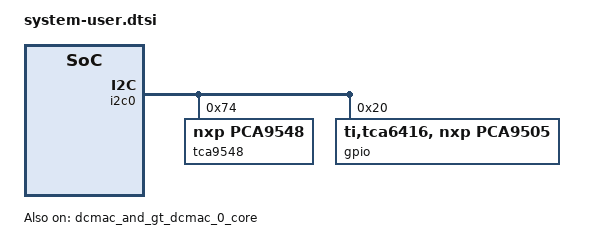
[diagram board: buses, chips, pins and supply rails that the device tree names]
/include/ "system-conf.dtsi"
/ {
};

&dcmac_and_gt_dcmac_0_core {
    xlnx,gt-ch0-rx-user-data-width-c0 = <0x50>;
    xlnx,gt-mode-0 = "NRZ";
    xlnx,gt-ch0-rx-user-data-width-c1 = <0x50>;
    xlnx,gt-mode-1 = "PAM4";
    xlnx,mac-port5-enable-c0 = <0x00>;
    xlnx,gt-mode-2 = "PAM4";
    xlnx,mac-port5-enable-c1 = <0x01>;
    xlnx,gt-mode-3 = "PAM4";
    xlnx,mac-port0-rx-etype-gcp-c0 = <0x8808>;
    xlnx,mac-port5-tx-sa-gpp-c0 = <0x00>;
    xlnx,gt-mode-4 = "PAM4";
    xlnx,mac-port0-rx-etype-gcp-c1 = <0x8808>;
    xlnx,mac-port5-tx-sa-gpp-c1 = <0x00>;
    xlnx,mac-port2-rx-etype-gcp-c0 = <0x8808>;
    xlnx,gt-ch0-tx-int-data-width-c0 = <0x50>;
    xlnx,mac-port1-rx-flow-c0 = <0x00>;
    xlnx,mac-port2-rx-etype-gcp-c1 = <0x8808>;
    xlnx,gt-ch0-tx-int-data-width-c1 = <0x50>;
    xlnx,mac-port4-rx-etype-gcp-c0 = <0x8808>;
    xlnx,mac-port3-tx-insert-c0 = <0x00>;
    xlnx,mac-port1-rx-flow-c1 = <0x00>;
    xlnx,mac-port4-rx-etype-gcp-c1 = <0x8808>;
    xlnx,mac-port3-tx-insert-c1 = <0x01>;
    xlnx,mac-port2-tx-ethertype-ppp-c0 = <0x8808>;
    xlnx,gt-ch1-txprogdiv-freq-val-c0 = <0x266ac338>;
    xlnx,mac-port2-tx-ethertype-ppp-c1 = <0x8808>;
    xlnx,gt-ch1-txprogdiv-freq-val-c1 = <0x266ac338>;
    xlnx,gt-ch2-rx-data-decoding-c0 = "RAW";
    xlnx,port5-1588v2-operation-mode-c0 = "No , operation";
    xlnx,gt-ch2-rx-data-decoding-c1 = "RAW";
    xlnx,diffclk-board-interface = "Custom";
    xlnx,port5-1588v2-operation-mode-c1 = "No , operation";
    xlnx,oth-pcs-port0-config3-c0 = "N/A";
    xlnx,mac-port4-tx-sa-ppp-c0 = <0x00>;
    xlnx,oth-pcs-port0-config3-c1 = "100CAUI-4";
    xlnx,mac-port4-tx-sa-ppp-c1 = <0x00>;
    xlnx,mac-port4-rx-pause-da-ucast-c0 = <0x00>;
    xlnx,mac-port4-rx-pause-da-ucast-c1 = <0x00>;
    xlnx,mac-port0-rx-opcode-min-pcp-c0 = <0x00>;
    xlnx,mac-port0-rx-opcode-min-pcp-c1 = <0x00>;
    xlnx,overclocking = <0x00>;
    xlnx,mac-port3-preemption-c0 = <0x00>;
    xlnx,mac-port2-rx-opcode-max-pcp-c0 = <0xffff>;
    xlnx,mac-port3-preemption-c1 = <0x00>;
    xlnx,mac-port2-rx-opcode-max-pcp-c1 = <0xffff>;
    xlnx,gt-ch0-tx-pll-type-c0 = "LCPLL";
    xlnx,mac-port0-tx-opcode-ppp-c0 = <0x101>;
    xlnx,gt-ch0-tx-pll-type-c1 = "LCPLL";
    xlnx,oth-pcs-port2-config4-c0 = "N/A";
    xlnx,mac-port0-tx-opcode-ppp-c1 = <0x101>;
    xlnx,mac-port2-tx-ethertype-gpp-c0 = <0x8808>;
    xlnx,oth-pcs-port2-config4-c1 = "100CAUI-4";
    xlnx,mac-port4-config-c0 = "N/A";
    xlnx,mac-port2-tx-ethertype-gpp-c1 = <0x8808>;
    xlnx,num-gt-channels-port0 = <0x04>;
    xlnx,mac-port4-config-c1 = "N/A";
    xlnx,num-gt-channels-port1 = <0x00>;
    xlnx,num-gt-channels-port2 = <0x00>;
    xlnx,mac-port4-tx-sa-gpp-c0 = <0x00>;
    xlnx,num-gt-channels-port3 = <0x00>;
    xlnx,mac-port4-tx-sa-gpp-c1 = <0x00>;
    xlnx,num-gt-channels-port4 = <0x00>;
    xlnx,mac-port3-rx-pause-da-mcast-c0 = <0x180 0xc2000001>;
    xlnx,num-gt-channels-port5 = <0x00>;
    xlnx,port0-1588v2-operation-mode-c0 = "2-step";
    xlnx,mac-port3-rx-pause-da-mcast-c1 = <0x180 0xc2000001>;
    xlnx,mac-port2-tx-insert-c0 = <0x00>;
    xlnx,gt-ch2-rx-outclk-source-c0 = "RXPROGDIVCLK";
    xlnx,port2-1588v2-clocking-c0 = "Ordinary/Boundary , Clock";
    xlnx,port0-1588v2-operation-mode-c1 = "No , operation";
    xlnx,mac-port2-tx-insert-c1 = <0x01>;
    xlnx,mac-port0-rx-opcode-min-gcp-c0 = <0x00>;
    xlnx,mac-port2-rx-flow-c0 = <0x00>;
    xlnx,gt-ch2-txprogdiv-freq-source-c0 = "LCPLL";
    xlnx,gt-ch2-rx-outclk-source-c1 = "RXPROGDIVCLK";
    xlnx,port2-1588v2-clocking-c1 = "Ordinary/Boundary , Clock";
    xlnx,mac-port0-rx-opcode-min-gcp-c1 = <0x00>;
    xlnx,mac-port2-rx-flow-c1 = <0x00>;
    xlnx,gt-ch2-txprogdiv-freq-source-c1 = "LCPLL";
    xlnx,mac-port0-rx-etype-ppp-c0 = <0x8808>;
    xlnx,mac-port0-rx-etype-ppp-c1 = <0x8808>;
    xlnx,gt-drp-clk-c0 = <0x64>;
    xlnx,mac-port3-tx-sa-ppp-c0 = <0x00>;
    xlnx,gt-mode-dyn = "MIX";
    xlnx,mac-port2-rx-etype-ppp-c0 = <0x8808>;
    xlnx,mac-port2-rx-opcode-max-gcp-c0 = <0xffff>;
    xlnx,gt-drp-clk-c1 = <0x64>;
    xlnx,gt-ch2-tx-user-data-width-c0 = <0x50>;
    xlnx,mac-port3-tx-sa-ppp-c1 = <0x00>;
    xlnx,mac-port2-rx-etype-ppp-c1 = <0x8808>;
    xlnx,mac-port2-rx-opcode-max-gcp-c1 = <0xffff>;
    xlnx,gt-ch2-tx-user-data-width-c1 = <0x50>;
    xlnx,oth-pcs-port1-config3-c0 = "N/A";
    xlnx,mac-port4-rx-etype-ppp-c0 = <0x8808>;
    xlnx,mac-port0-tx-opcode-gpp-c0 = <0x01>;
    xlnx,oth-pcs-port1-config3-c1 = "100CAUI-4";
    xlnx,mac-port5-tx-da-ppp-c0 = <0x180 0xc2000001>;
    xlnx,mac-port4-rx-etype-ppp-c1 = <0x8808>;
    xlnx,mac-port0-tx-opcode-gpp-c1 = <0x01>;
    xlnx,gt-ch3-txprogdiv-freq-enable-c0;
    xlnx,mac-port5-tx-da-ppp-c1 = <0x180 0xc2000001>;
    xlnx,gt-ch3-txprogdiv-freq-enable-c1;
    xlnx,mac-port2-tx-opcode-ppp-c0 = <0x101>;
    xlnx,mac-port5-rx-pause-sa-c0 = <0x00>;
    xlnx,mac-port3-tx-ethertype-ppp-c0 = <0x8808>;
    xlnx,mac-port2-tx-opcode-ppp-c1 = <0x101>;
    xlnx,mac-port5-rx-pause-sa-c1 = <0x00>;
    xlnx,gt-ch1-rx-buffer-mode-c0 = <0x01>;
    xlnx,port5-1588v2-clocking-c0 = "Ordinary/Boundary , Clock";
    xlnx,mac-port3-tx-ethertype-ppp-c1 = <0x8808>;
    xlnx,gt-ch1-rx-buffer-mode-c1 = <0x01>;
    xlnx,port5-1588v2-clocking-c1 = "Ordinary/Boundary , Clock";
    xlnx,gt-ch3-rx-data-decoding-c0 = "RAW";
    xlnx,gt-ch1-tx-buffer-mode-c0 = <0x01>;
    clock-names = "rx_axi_clk\0rx_core_clk\0rx_flexif_clk\0rx_macif_clk\0s_axi_aclk\0ts_clk\0tx_axi_clk\0tx_core_clk\0tx_flexif_clk\0tx_macif_clk";
    xlnx,gt-ch3-rx-data-decoding-c1 = "RAW";
    xlnx,gt-ch1-tx-buffer-mode-c1 = <0x01>;
    xlnx,mac-port0-enable-c0 = <0x01>;
    xlnx,mac-port1-rx-opcode-ppp-c0 = <0x101>;
    xlnx,gt-ch2-rxprogdiv-freq-source-c0 = "LCPLL";
    xlnx,mac-port0-enable-c1 = <0x01>;
    xlnx,mac-port1-rx-opcode-ppp-c1 = <0x101>;
    xlnx,gtm-group-select2-c0 = "GTM_DUAL_X0Y0";
    xlnx,gt-ch2-rxprogdiv-freq-source-c1 = "LCPLL";
    xlnx,gt-ch1-tx-int-data-width-c0 = <0x50>;
    xlnx,gtm-group-select2-c1 = "GTM_DUAL_X0Y0";
    xlnx,gt-ch1-tx-int-data-width-c1 = <0x50>;
    xlnx,ethernet-board-interface = "Custom";
    xlnx,oth-pcs-port3-config4-c0 = "N/A";
    xlnx,mac-port0-rx-etype-gpp-c0 = <0x8808>;
    xlnx,oth-pcs-port3-config4-c1 = "100CAUI-4";
    xlnx,mac-port0-rx-etype-gpp-c1 = <0x8808>;
    xlnx,mac-port3-tx-sa-gpp-c0 = <0x00>;
    xlnx,mac-port2-rx-etype-gpp-c0 = <0x8808>;
    xlnx,data-rate-cfg-0 = "100G";
    xlnx,oth-pcs-port0-config2-c0 = "N/A";
    xlnx,mac-port3-tx-sa-gpp-c1 = <0x00>;
    xlnx,mac-port2-enable-time-stamping-c0 = <0x00>;
    xlnx,mac-port2-rx-etype-gpp-c1 = <0x8808>;
    xlnx,num-gt-channels-port5-con1 = <0x00>;
    xlnx,oth-pcs-port0-config2-c1 = "100CAUI-4";
    xlnx,mac-port4-rx-etype-gpp-c0 = <0x8808>;
    xlnx,mac-port2-enable-time-stamping-c1 = <0x00>;
    xlnx,num-gt-channels-port5-con2 = <0x00>;
    xlnx,gt-ch3-rxprogdiv-freq-enable-c0;
    xlnx,mac-port5-tx-da-gpp-c0 = <0x180 0xc2000001>;
    xlnx,mac-port4-rx-etype-gpp-c1 = <0x8808>;
    xlnx,mac-port1-tx-insert-c0 = <0x00>;
    xlnx,num-gt-channels-port5-con3 = <0x00>;
    xlnx,gt-ch3-rxprogdiv-freq-enable-c1;
    xlnx,mac-port5-tx-da-gpp-c1 = <0x180 0xc2000001>;
    xlnx,mac-port1-tx-insert-c1 = <0x01>;
    xlnx,num-gt-channels-port5-con4 = <0x00>;
    xlnx,phy-operating-mode-c0 = "N/A";
    xlnx,mac-port5-rx-pause-da-ucast-c0 = <0x00>;
    xlnx,mac-port2-tx-opcode-gpp-c0 = <0x01>;
    xlnx,gt-ch3-tx-refclk-frequency-c0 = <0x9502f90>;
    xlnx,gt-ch2-rxprogdiv-freq-val-c0 = <0x266ac338>;
    xlnx,gt-ch0-tx-line-rate-c0 = <0x9d5b34>;
    xlnx,mac-port5-rx-pause-da-ucast-c1 = <0x00>;
    xlnx,mac-port3-tx-ethertype-gpp-c0 = <0x8808>;
    xlnx,mac-port3-rx-flow-c0 = <0x00>;
    xlnx,mac-port2-tx-opcode-gpp-c1 = <0x01>;
    xlnx,num-gt-channels-port2-con1 = <0x00>;
    xlnx,gt-ch3-tx-refclk-frequency-c1 = <0x9502f90>;
    xlnx,gt-ch2-rxprogdiv-freq-val-c1 = <0x266ac338>;
    xlnx,gt-ch0-tx-line-rate-c1 = <0x9d5b34>;
    xlnx,mac-port3-tx-ethertype-gpp-c1 = <0x8808>;
    xlnx,mac-port3-rx-flow-c1 = <0x00>;
    xlnx,mac-port1-rx-opcode-min-pcp-c0 = <0x00>;
    xlnx,num-gt-channels-port2-con2 = <0x00>;
    xlnx,gt-ch2-tx-line-rate-c0 = <0x9d5b34>;
    xlnx,mac-port4-tx-opcode-ppp-c0 = <0x101>;
    xlnx,mac-port2-tx-sa-ppp-c0 = <0x00>;
    xlnx,mac-port1-rx-opcode-min-pcp-c1 = <0x00>;
    xlnx,num-gt-channels-port2-con3 = <0x00>;
    xlnx,gt-ch2-tx-line-rate-c1 = <0x9d5b34>;
    xlnx,mac-port4-tx-opcode-ppp-c1 = <0x101>;
    xlnx,mac-port2-tx-sa-ppp-c1 = <0x00>;
    xlnx,num-gt-channels-port2-con4 = <0x00>;
    xlnx,mac-port1-rx-opcode-gpp-c0 = <0x01>;
    xlnx,mac-port4-tx-da-ppp-c0 = <0x180 0xc2000001>;
    xlnx,mac-port3-rx-opcode-max-pcp-c0 = <0xffff>;
    xlnx,mac-port1-rx-opcode-gpp-c1 = <0x01>;
    xlnx,oth-pcs-port2-config3-c0 = "N/A";
    xlnx,mac-port4-tx-da-ppp-c1 = <0x180 0xc2000001>;
    xlnx,mac-port3-rx-opcode-max-pcp-c1 = <0xffff>;
    xlnx,gt-ch2-tx-refclk-frequency-c0 = <0x9502f90>;
    xlnx,oth-pcs-port2-config3-c1 = "100CAUI-4";
    xlnx,mac-port3-rx-opcode-ppp-c0 = <0x101>;
    xlnx,gt-ch3-rx-outclk-source-c0 = "RXPROGDIVCLK";
    xlnx,gt-ch2-tx-refclk-frequency-c1 = <0x9502f90>;
    xlnx,mac-port3-rx-opcode-ppp-c1 = <0x101>;
    xlnx,gt-ch3-tx-pll-type-c0 = "LCPLL";
    xlnx,gt-ch3-rx-outclk-source-c1 = "RXPROGDIVCLK";
    xlnx,gt-ch3-tx-pll-type-c1 = "LCPLL";
    xlnx,gt-ch0-tx-user-data-width-c0 = <0x50>;
    xlnx,port4-1588v2-operation-mode-c0 = "No , operation";
    xlnx,gt-ch0-tx-user-data-width-c1 = <0x50>;
    xlnx,port4-1588v2-operation-mode-c1 = "No , operation";
    xlnx,mac-port5-rx-strip-c0 = <0x00>;
    xlnx,mac-port4-preemption-c0 = <0x00>;
    xlnx,mac-port1-rx-pause-sa-c0 = <0x00>;
    xlnx,mac-port5-rx-strip-c1 = <0x00>;
    xlnx,mac-port4-preemption-c1 = <0x00>;
    xlnx,mac-port1-rx-pause-sa-c1 = <0x00>;
    xlnx,gt-ch1-tx-refclk-frequency-c0 = <0x9502f90>;
    xlnx,mac-port4-rx-pause-da-mcast-c0 = <0x180 0xc2000001>;
    xlnx,gt-ch1-tx-refclk-frequency-c1 = <0x9502f90>;
    xlnx,mac-port4-rx-pause-da-mcast-c1 = <0x180 0xc2000001>;
    xlnx,mac-port1-rx-opcode-min-gcp-c0 = <0x00>;
    xlnx,oth-pcs-port4-config4-c0 = "N/A";
    xlnx,mac-port4-tx-opcode-gpp-c0 = <0x01>;
    xlnx,mac-port2-tx-sa-gpp-c0 = <0x00>;
    xlnx,mac-port1-rx-opcode-min-gcp-c1 = <0x00>;
    xlnx,oth-pcs-port4-config4-c1 = "100CAUI-4";
    xlnx,mac-port4-tx-opcode-gpp-c1 = <0x01>;
    xlnx,mac-port4-tx-ethertype-ppp-c0 = <0x8808>;
    xlnx,mac-port2-tx-sa-gpp-c1 = <0x00>;
    xlnx,mac-port4-tx-ethertype-ppp-c1 = <0x8808>;
    xlnx,fec-slice5-cfg-c0 = "N/A";
    xlnx,oth-pcs-port1-config2-c0 = "N/A";
    xlnx,mac-port4-tx-da-gpp-c0 = <0x180 0xc2000001>;
    xlnx,mac-port3-rx-opcode-max-gcp-c0 = <0xffff>;
    xlnx,fec-slice5-cfg-c1 = "N/A";
    xlnx,mac-port0-tx-insert-c0 = <0x01>;
    xlnx,gt-ch0-tx-refclk-frequency-c0 = <0x9502f90>;
    xlnx,oth-pcs-port1-config2-c1 = "100CAUI-4";
    xlnx,mac-port4-tx-da-gpp-c1 = <0x180 0xc2000001>;
    xlnx,mac-port3-rx-opcode-max-gcp-c1 = <0xffff>;
    xlnx,mac-port0-tx-insert-c1 = <0x01>;
    xlnx,gt-ch0-tx-refclk-frequency-c1 = <0x9502f90>;
    xlnx,mac-port3-rx-opcode-gpp-c0 = <0x01>;
    xlnx,mac-port3-rx-opcode-gpp-c1 = <0x01>;
    xlnx,mac-port2-enable-c0 = <0x00>;
    xlnx,gt-pipeline-stages = <0x00>;
    xlnx,mac-port2-enable-c1 = <0x01>;
    xlnx,mac-port5-rx-opcode-ppp-c0 = <0x101>;
    xlnx,mac-port4-rx-flow-c0 = <0x00>;
    xlnx,mac-port1-tx-sa-ppp-c0 = <0x00>;
    xlnx,mac-port5-rx-opcode-ppp-c1 = <0x101>;
    xlnx,mac-port4-rx-flow-c1 = <0x00>;
    xlnx,mac-port1-tx-sa-ppp-c1 = <0x00>;
    xlnx,gt-ch3-rx-user-data-width-c0 = <0x50>;
    xlnx,gt-ch3-rx-user-data-width-c1 = <0x50>;
    xlnx,gt-ch0-rx-int-data-width-c0 = <0x50>;
    xlnx,mac-port3-tx-da-ppp-c0 = <0x180 0xc2000001>;
    xlnx,gt-ch0-rx-int-data-width-c1 = <0x50>;
    xlnx,mac-port3-tx-da-ppp-c1 = <0x180 0xc2000001>;
    xlnx,gtm-group-select1-c0 = "GTM_DUAL_X0Y0";
    xlnx,gt-ch0-rxprogdiv-freq-val-c0 = <0x266ac338>;
    xlnx,gtm-group-select1-c1 = "GTM_DUAL_X0Y0";
    xlnx,gt-ch1-txprogdiv-freq-source-c0 = "LCPLL";
    xlnx,gt-ch1-rx-line-rate-c0 = <0x9d5b34>;
    xlnx,gt-ch0-rxprogdiv-freq-val-c1 = <0x266ac338>;
    xlnx,oth-pcs-port3-config3-c0 = "N/A";
    xlnx,include-auto-neg-lt-logic-c0 = "None";
    xlnx,gt-ch2-tx-int-data-width-c0 = <0x50>;
    xlnx,gt-ch1-txprogdiv-freq-source-c1 = "LCPLL";
    xlnx,gt-ch1-rx-line-rate-c1 = <0x9d5b34>;
    xlnx,full-density-mode = <0x00>;
    xlnx,oth-pcs-port3-config3-c1 = "100CAUI-4";
    xlnx,include-auto-neg-lt-logic-c1 = "None";
    xlnx,gt-ch3-rx-line-rate-c0 = <0x9d5b34>;
    xlnx,gt-ch2-tx-int-data-width-c1 = <0x50>;
    xlnx,gt-ch0-rx-buffer-mode-c0 = <0x01>;
    xlnx,mac-port4-tx-ethertype-gpp-c0 = <0x8808>;
    xlnx,fec-slice3-cfg-c0 = "N/A";
    xlnx,gt-ch3-rx-line-rate-c1 = <0x9d5b34>;
    xlnx,gt-ch0-rx-buffer-mode-c1 = <0x01>;
    xlnx,oth-pcs-port0-config1-c0 = "N/A";
    xlnx,mac-port4-tx-ethertype-gpp-c1 = <0x8808>;
    xlnx,fec-slice3-cfg-c1 = "N/A";
    xlnx,gt-ch0-tx-buffer-mode-c0 = <0x01>;
    xlnx,oth-pcs-port0-config1-c1 = "100CAUI-4";
    xlnx,gt-ch0-tx-buffer-mode-c1 = <0x01>;
    status = "okay";
    xlnx,num-gt-channels-con4-valid = <0x00>;
    xlnx,dcmac-clients-c0 = "N/A";
    xlnx,gt-ch2-txprogdiv-freq-enable-c0;
    xlnx,dcmac-clients-c1 = "N/A";
    xlnx,gt-ch2-txprogdiv-freq-enable-c1;
    xlnx,mac-port5-rx-opcode-gpp-c0 = <0x01>;
    xlnx,mac-port1-tx-sa-gpp-c0 = <0x00>;
    xlnx,mac-port5-rx-opcode-gpp-c1 = <0x01>;
    xlnx,mac-port1-tx-sa-gpp-c1 = <0x00>;
    xlnx,lane1-gt-loc-c0 = "X0Y0";
    xlnx,oth-pcs-port5-config4-c0 = "N/A";
    xlnx,mac-port2-rx-opcode-min-pcp-c0 = <0x00>;
    xlnx,lane1-gt-loc-c1 = "X0Y0";
    xlnx,is-board-project = <0x01>;
    xlnx,oth-pcs-port5-config4-c1 = "100CAUI-4";
    xlnx,mac-port4-rx-strip-c0 = <0x00>;
    xlnx,mac-port3-tx-da-gpp-c0 = <0x180 0xc2000001>;
    xlnx,mac-port2-rx-opcode-min-pcp-c1 = <0x00>;
    xlnx,mac-port4-rx-strip-c1 = <0x00>;
    xlnx,mac-port3-tx-da-gpp-c1 = <0x180 0xc2000001>;
    xlnx,gt-ch1-rxprogdiv-freq-source-c0 = "LCPLL";
    xlnx,oth-pcs-port2-config2-c0 = "N/A";
    xlnx,mac-port1-config-c0 = "N/A";
    xlnx,gt-ch1-rxprogdiv-freq-source-c1 = "LCPLL";
    xlnx,oth-pcs-port2-config2-c1 = "100CAUI-4";
    xlnx,mac-port4-rx-opcode-max-pcp-c0 = <0xffff>;
    xlnx,mac-port1-config-c1 = "N/A";
    xlnx,mac-port4-rx-opcode-max-pcp-c1 = <0xffff>;
    xlnx,fec-slice1-cfg-c0 = "N/A";
    xlnx,fec-slice1-cfg-c1 = "N/A";
    xlnx,mac-port0-tx-sa-ppp-c0 = <0x00>;
    xlnx,mac-port0-tx-sa-ppp-c1 = <0x00>;
    xlnx,edk-iptype = "PERIPHERAL";
    xlnx,mac-port5-rx-flow-c0 = <0x00>;
    xlnx,mac-port0-rx-pause-da-ucast-c0 = <0x00>;
    xlnx,mac-port5-tx-ethertype-ppp-c0 = <0x8808>;
    xlnx,mac-port5-rx-flow-c1 = <0x00>;
    xlnx,mac-port0-rx-pause-da-ucast-c1 = <0x00>;
    xlnx,mac-port2-tx-da-ppp-c0 = <0x180 0xc2000001>;
    xlnx,num-gt-channels-con3-valid = <0x00>;
    xlnx,gt-ch2-rxprogdiv-freq-enable-c0;
    xlnx,mac-port5-tx-ethertype-ppp-c1 = <0x8808>;
    xlnx,mac-port2-tx-da-ppp-c1 = <0x180 0xc2000001>;
    xlnx,gt-ch2-rxprogdiv-freq-enable-c1;
    xlnx,port0-1588v2-clocking-c0 = "Ordinary/Boundary , Clock";
    xlnx,port0-1588v2-clocking-c1 = "Ordinary/Boundary , Clock";
    xlnx,mac-port5-rx-pause-da-mcast-c0 = <0x180 0xc2000001>;
    xlnx,mac-port4-rx-pause-sa-c0 = <0x00>;
    xlnx,oth-pcs-port4-config3-c0 = "N/A";
    xlnx,mac-port5-rx-pause-da-mcast-c1 = <0x180 0xc2000001>;
    xlnx,mac-port4-rx-pause-sa-c1 = <0x00>;
    xlnx,gt-ch1-rx-user-data-width-c0 = <0x50>;
    xlnx,oth-pcs-port4-config3-c1 = "100CAUI-4";
    xlnx,mac-port4-enable-c0 = <0x00>;
    xlnx,mac-port2-rx-opcode-min-gcp-c0 = <0x00>;
    xlnx,gt-ch1-rx-user-data-width-c1 = <0x50>;
    xlnx,mac-port4-enable-c1 = <0x01>;
    xlnx,mac-port1-enable-time-stamping-c0 = <0x00>;
    xlnx,mac-port2-rx-opcode-min-gcp-c1 = <0x00>;
    xlnx,oth-pcs-port1-config1-c0 = "N/A";
    xlnx,mac-port1-enable-time-stamping-c1 = <0x00>;
    xlnx,oth-pcs-port1-config1-c1 = "100CAUI-4";
    xlnx,num-gt-channels-con0 = <0x04>;
    xlnx,enable-phase-fifo = <0x00>;
    xlnx,num-gt-channels-con1 = <0x00>;
    xlnx,mac-port4-rx-opcode-max-gcp-c0 = <0xffff>;
    xlnx,mac-port1-rx-etype-pcp-c0 = <0x8808>;
    xlnx,mac-port5-preemption-c0 = <0x00>;
    xlnx,num-gt-channels-con2 = <0x00>;
    xlnx,mac-port5-enable-time-stamping-c0 = <0x00>;
    xlnx,mac-port4-rx-opcode-max-gcp-c1 = <0xffff>;
    xlnx,mac-port1-rx-etype-pcp-c1 = <0x8808>;
    xlnx,mac-port5-preemption-c1 = <0x00>;
    xlnx,num-gt-channels-con3 = <0x00>;
    xlnx,mac-port5-enable-time-stamping-c1 = <0x00>;
    xlnx,mac-port3-rx-etype-pcp-c0 = <0x8808>;
    xlnx,mac-port0-tx-sa-gpp-c0 = <0x00>;
    xlnx,port3-1588v2-clocking-c0 = "Ordinary/Boundary , Clock";
    xlnx,num-gt-channels-con4 = <0x00>;
    xlnx,mac-port3-rx-etype-pcp-c1 = <0x8808>;
    xlnx,mac-port0-tx-sa-gpp-c1 = <0x00>;
    xlnx,port3-1588v2-operation-mode-c0 = "No , operation";
    xlnx,port3-1588v2-clocking-c1 = "Ordinary/Boundary , Clock";
    xlnx,mac-port5-rx-etype-pcp-c0 = <0x8808>;
    xlnx,gt-ch2-txprogdiv-freq-val-c0 = <0x266ac338>;
    xlnx,port3-1588v2-operation-mode-c1 = "No , operation";
    xlnx,mac-port5-tx-ethertype-gpp-c0 = <0x8808>;
    xlnx,mac-port5-rx-etype-pcp-c1 = <0x8808>;
    xlnx,mac-port2-tx-da-gpp-c0 = <0x180 0xc2000001>;
    xlnx,num-gt-channels-con2-valid = <0x00>;
    xlnx,gt-ch2-txprogdiv-freq-val-c1 = <0x266ac338>;
    xlnx,mac-port5-tx-ethertype-gpp-c1 = <0x8808>;
    xlnx,mac-port2-tx-da-gpp-c1 = <0x180 0xc2000001>;
    xlnx,gt-ch1-rx-int-data-width-c0 = <0x50>;
    xlnx,gt-ch1-rx-int-data-width-c1 = <0x50>;
    xlnx,oth-pcs-port3-config2-c0 = "N/A";
    xlnx,gt-ch0-tx-outclk-source-c0 = "TXPROGDIVCLK";
    xlnx,oth-pcs-port3-config2-c1 = "100CAUI-4";
    xlnx,mac-port0-tx-flow-c0 = <0x00>;
    xlnx,gt-ch0-tx-outclk-source-c1 = "TXPROGDIVCLK";
    xlnx,mac-port0-tx-flow-c1 = <0x00>;
    xlnx,mac-port0-preemption-c0 = <0x00>;
    xlnx,gt-ch3-tx-int-data-width-c0 = <0x50>;
    xlnx,mac-port0-preemption-c1 = <0x00>;
    xlnx,gt-ch3-tx-int-data-width-c1 = <0x50>;
    xlnx,mac-port3-rx-strip-c0 = <0x00>;
    xlnx,mac-port1-tx-da-ppp-c0 = <0x180 0xc2000001>;
    xlnx,mac-port3-rx-strip-c1 = <0x00>;
    xlnx,mac-port1-tx-da-ppp-c1 = <0x180 0xc2000001>;
    xlnx,mac-port1-rx-etype-gcp-c0 = <0x8808>;
    xlnx,mac-port1-rx-etype-gcp-c1 = <0x8808>;
    xlnx,mac-port3-rx-etype-gcp-c0 = <0x8808>;
    xlnx,mac-port3-rx-etype-gcp-c1 = <0x8808>;
    xlnx,mac-port3-config-c0 = "N/A";
    xlnx,gt-ch2-tx-pll-type-c0 = "LCPLL";
    xlnx,mac-port5-rx-etype-gcp-c0 = <0x8808>;
    xlnx,mac-port3-config-c1 = "N/A";
    xlnx,gt-ch2-tx-pll-type-c1 = "LCPLL";
    xlnx,oth-pcs-port5-config3-c0 = "N/A";
    xlnx,mac-port5-rx-etype-gcp-c1 = <0x8808>;
    xlnx,num-gt-channels-con1-valid = <0x00>;
    xlnx,oth-pcs-port5-config3-c1 = "100CAUI-4";
    xlnx,num-gt-channels-port4-con1 = <0x00>;
    xlnx,mac-port3-rx-opcode-min-pcp-c0 = <0x00>;
    xlnx,num-gt-channels-port4-con2 = <0x00>;
    xlnx,mac-port0-rx-pause-sa-c0 = <0x00>;
    xlnx,oth-pcs-port2-config1-c0 = "N/A";
    xlnx,mac-port3-rx-opcode-min-pcp-c1 = <0x00>;
    xlnx,num-gt-channels-port4-con3 = <0x00>;
    xlnx,mac-port0-rx-pause-sa-c1 = <0x00>;
    xlnx,gt-ch0-tx-data-encoding-c0 = "RAW";
    xlnx,oth-pcs-port2-config1-c1 = "100CAUI-4";
    xlnx,num-gt-channels-port4-con4 = <0x00>;
    xlnx,gt-ch0-txprogdiv-freq-source-c0 = "LCPLL";
    xlnx,gt-ch0-tx-data-encoding-c1 = "RAW";
    xlnx,gt-ch0-txprogdiv-freq-source-c1 = "LCPLL";
    xlnx,mac-port5-rx-opcode-max-pcp-c0 = <0xffff>;
    xlnx,num-gt-channels-port1-con1 = <0x00>;
    xlnx,mac-port5-rx-opcode-max-pcp-c1 = <0xffff>;
    compatible = "xlnx,dcmac-2.4";
    xlnx,num-gt-channels-port1-con2 = <0x00>;
    xlnx,mac-port1-tx-da-gpp-c0 = <0x180 0xc2000001>;
    xlnx,num-gt-channels-port1-con3 = <0x00>;
    xlnx,mac-port1-tx-da-gpp-c1 = <0x180 0xc2000001>;
    xlnx,num-gt-channels-port1-con4 = <0x00>;
    xlnx,mac-port1-rx-pause-da-ucast-c0 = <0x00>;
    xlnx,mac-port1-rx-pause-da-ucast-c1 = <0x00>;
    xlnx,gt-ch3-tx-user-data-width-c0 = <0x50>;
    xlnx,gt-ch1-txprogdiv-freq-enable-c0;
    xlnx,gt-ch3-tx-user-data-width-c1 = <0x50>;
    xlnx,gt-ch1-txprogdiv-freq-enable-c1;
    xlnx,oth-pcs-port4-config2-c0 = "N/A";
    xlnx,gt-ch0-txprogdiv-freq-val-c0 = <0x266ac338>;
    xlnx,oth-pcs-port4-config2-c1 = "100CAUI-4";
    xlnx,mac-port1-tx-flow-c0 = <0x00>;
    xlnx,num-gt-channels-con0-valid = <0x04>;
    xlnx,gt-ch0-txprogdiv-freq-val-c1 = <0x266ac338>;
    xlnx,mac-port0-tx-da-ppp-c0 = <0x180 0xc2000001>;
    xlnx,mac-port1-tx-flow-c1 = <0x00>;
    xlnx,mac-port3-rx-opcode-min-gcp-c0 = <0x00>;
    xlnx,mac-port0-tx-da-ppp-c1 = <0x180 0xc2000001>;
    xlnx,mac-port3-rx-opcode-min-gcp-c1 = <0x00>;
    xlnx,gt-ch0-rxprogdiv-freq-source-c0 = "LCPLL";
    xlnx,gt-ch0-rxprogdiv-freq-source-c1 = "LCPLL";
    xlnx,mac-port5-rx-opcode-max-gcp-c0 = <0xffff>;
    xlnx,mac-port5-rx-opcode-max-gcp-c1 = <0xffff>;
    xlnx,mac-port1-tx-opcode-ppp-c0 = <0x101>;
    xlnx,gt-ch1-tx-outclk-source-c0 = "TXPROGDIVCLK";
    xlnx,mac-port1-tx-opcode-ppp-c1 = <0x101>;
    xlnx,gt-ch1-tx-outclk-source-c1 = "TXPROGDIVCLK";
    xlnx,mac-port2-rx-strip-c0 = <0x00>;
    xlnx,mac-port0-rx-pause-da-mcast-c0 = <0x180 0xc2000001>;
    xlnx,mac-port1-rx-etype-ppp-c0 = <0x8808>;
    xlnx,mac-port2-rx-strip-c1 = <0x00>;
    xlnx,gt-ch1-rxprogdiv-freq-enable-c0;
    xlnx,mac-port0-rx-pause-da-mcast-c1 = <0x180 0xc2000001>;
    xlnx,mac-port1-rx-etype-ppp-c1 = <0x8808>;
    xlnx,gt-ch1-rxprogdiv-freq-enable-c1;
    xlnx,mac-port3-rx-etype-ppp-c0 = <0x8808>;
    xlnx,mac-port0-rx-opcode-ppp-c0 = <0x101>;
    xlnx,oth-pcs-port3-config1-c0 = "N/A";
    xlnx,mac-port3-rx-etype-ppp-c1 = <0x8808>;
    xlnx,mac-port0-rx-opcode-ppp-c1 = <0x101>;
    xlnx,gt-ch2-rx-int-data-width-c0 = <0x50>;
    xlnx,oth-pcs-port3-config1-c1 = "100CAUI-4";
    xlnx,mac-port5-rx-etype-ppp-c0 = <0x8808>;
    xlnx,gt-ch2-rx-int-data-width-c1 = <0x50>;
    xlnx,timestamp-clk-period-ns = <0x04>;
    xlnx,mac-port5-rx-etype-ppp-c1 = <0x8808>;
    xlnx,mac-port0-tx-da-gpp-c0 = <0x180 0xc2000001>;
    xlnx,gt-ch3-rxprogdiv-freq-val-c0 = <0x266ac338>;
    xlnx,mac-port5-config-c0 = "N/A";
    xlnx,mac-port0-tx-da-gpp-c1 = <0x180 0xc2000001>;
    xlnx,gt-ch3-rxprogdiv-freq-val-c1 = <0x266ac338>;
    xlnx,mac-port5-config-c1 = "N/A";
    xlnx,dcmac-location-c0 = "DCMAC_X0Y0";
    xlnx,dcmac-location-c1 = "N/A";
    xlnx,gt-ch1-tx-data-encoding-c0 = "RAW";
    xlnx,mac-port1-tx-opcode-gpp-c0 = <0x01>;
    xlnx,gt-ch1-tx-data-encoding-c1 = "RAW";
    xlnx,mac-port1-tx-opcode-gpp-c1 = <0x01>;
    xlnx,gt-group-select-c0 = "X0Y0";
    xlnx,port2-1588v2-operation-mode-c0 = "No , operation";
    xlnx,oth-pcs-port5-config2-c0 = "N/A";
    xlnx,gt-group-select-c1 = "X0Y0";
    xlnx,port2-1588v2-operation-mode-c1 = "No , operation";
    xlnx,oth-pcs-port5-config2-c1 = "100CAUI-4";
    xlnx,mac-port3-tx-opcode-ppp-c0 = <0x101>;
    xlnx,mac-port2-tx-flow-c0 = <0x00>;
    xlnx,mac-port0-enable-time-stamping-c0 = <0x01>;
    xlnx,mac-port1-rx-etype-gpp-c0 = <0x8808>;
    xlnx,mac-port1-preemption-c0 = <0x00>;
    xlnx,mac-port3-tx-opcode-ppp-c1 = <0x101>;
    xlnx,mac-port2-tx-flow-c1 = <0x00>;
    xlnx,mac-port0-enable-time-stamping-c1 = <0x00>;
    xlnx,mac-port1-rx-etype-gpp-c1 = <0x8808>;
    xlnx,mac-port1-preemption-c1 = <0x00>;
    xlnx,gt-ch1-tx-user-data-width-c0 = <0x50>;
    xlnx,mac-port3-rx-etype-gpp-c0 = <0x8808>;
    xlnx,mac-port0-rx-opcode-gpp-c0 = <0x01>;
    xlnx,gt-ch1-tx-user-data-width-c1 = <0x50>;
    xlnx,mac-port4-rx-opcode-min-pcp-c0 = <0x00>;
    xlnx,mac-port3-rx-etype-gpp-c1 = <0x8808>;
    xlnx,mac-port0-rx-opcode-gpp-c1 = <0x01>;
    xlnx,mac-port5-rx-etype-gpp-c0 = <0x8808>;
    xlnx,mac-port4-rx-opcode-min-pcp-c1 = <0x00>;
    xlnx,mac-port4-enable-time-stamping-c0 = <0x00>;
    xlnx,mac-port5-rx-etype-gpp-c1 = <0x8808>;
    xlnx,mac-port4-enable-time-stamping-c1 = <0x00>;
    xlnx,mac-port2-rx-opcode-ppp-c0 = <0x101>;
    xlnx,mac-port3-rx-pause-sa-c0 = <0x00>;
    xlnx,mac-port2-rx-opcode-ppp-c1 = <0x101>;
    xlnx,mac-port3-rx-pause-sa-c1 = <0x00>;
    xlnx,gt-type-c0 = "GTM";
    xlnx,gt-ch1-tx-line-rate-c0 = <0x9d5b34>;
    xlnx,gt-type-c1 = "N/A";
    xlnx,gt-ch1-tx-line-rate-c1 = <0x9d5b34>;
    xlnx,gt-ch3-tx-line-rate-c0 = <0x9d5b34>;
    xlnx,gt-ch3-tx-line-rate-c1 = <0x9d5b34>;
    xlnx,mac-port2-rx-pause-da-ucast-c0 = <0x00>;
    xlnx,dcmac-data-path-interface-c0 = "391MHz , Upto , 6 , Ports";
    xlnx,mac-port2-rx-pause-da-ucast-c1 = <0x00>;
    xlnx,oth-pcs-port4-config1-c0 = "N/A";
    xlnx,dcmac-data-path-interface-c1 = "N/A";
    xlnx,mac-port1-enable-c0 = <0x00>;
    xlnx,oth-pcs-port4-config1-c1 = "100CAUI-4";
    xlnx,mac-port1-enable-c1 = <0x01>;
    xlnx,mac-port3-tx-opcode-gpp-c0 = <0x01>;
    xlnx,mac-port1-rx-strip-c0 = <0x00>;
    xlnx,gt-ch2-tx-outclk-source-c0 = "TXPROGDIVCLK";
    xlnx,mac-port3-tx-opcode-gpp-c1 = <0x01>;
    xlnx,mac-port1-rx-strip-c1 = <0x00>;
    xlnx,gt-ch2-tx-outclk-source-c1 = "TXPROGDIVCLK";
    xlnx,mac-port0-rx-opcode-max-pcp-c0 = <0xffff>;
    xlnx,mac-port5-tx-opcode-ppp-c0 = <0x101>;
    xlnx,mac-port4-rx-opcode-min-gcp-c0 = <0x00>;
    xlnx,mac-port0-rx-opcode-max-pcp-c1 = <0xffff>;
    xlnx,mac-port5-tx-opcode-ppp-c1 = <0x101>;
    xlnx,mac-port4-rx-opcode-min-gcp-c1 = <0x00>;
    xlnx,gt-ref-clk-freq-c0 = <0x9502f90>;
    xlnx,ip-name = "dcmac";
    xlnx,mac-port2-rx-opcode-gpp-c0 = <0x01>;
    xlnx,port1-1588v2-clocking-c0 = "Ordinary/Boundary , Clock";
    xlnx,gt-ref-clk-freq-c1 = <0x9502f90>;
    xlnx,mac-port0-tx-ethertype-ppp-c0 = <0x8808>;
    xlnx,mac-port2-rx-opcode-gpp-c1 = <0x01>;
    xlnx,gt-ch1-rxprogdiv-freq-val-c0 = <0x266ac338>;
    xlnx,port1-1588v2-clocking-c1 = "Ordinary/Boundary , Clock";
    xlnx,mac-port0-tx-ethertype-ppp-c1 = <0x8808>;
    xlnx,gt-ch1-rxprogdiv-freq-val-c1 = <0x266ac338>;
    xlnx,mac-port4-rx-opcode-ppp-c0 = <0x101>;
    xlnx,gt-ch0-rx-data-decoding-c0 = "RAW";
    xlnx,mac-port4-rx-opcode-ppp-c1 = <0x101>;
    xlnx,gt-ch0-rx-data-decoding-c1 = "RAW";
    xlnx,mac-port3-tx-flow-c0 = <0x00>;
    xlnx,mac-port3-tx-flow-c1 = <0x00>;
    xlnx,mac-port1-rx-pause-da-mcast-c0 = <0x180 0xc2000001>;
    xlnx,gt-ch3-rx-buffer-mode-c0 = <0x01>;
    xlnx,gt-ch0-txprogdiv-freq-enable-c0;
    xlnx,fast-sim-mode = <0x00>;
    xlnx,mac-port1-rx-pause-da-mcast-c1 = <0x180 0xc2000001>;
    xlnx,gt-ch3-rx-buffer-mode-c1 = <0x01>;
    xlnx,gt-ch0-txprogdiv-freq-enable-c1;
    xlnx,gt-ch3-tx-buffer-mode-c0 = <0x01>;
    xlnx,gt-ch3-tx-buffer-mode-c1 = <0x01>;
    xlnx,gt-ch3-rx-int-data-width-c0 = <0x50>;
    xlnx,gt-ch2-tx-data-encoding-c0 = "RAW";
    xlnx,gt-ch1-tx-pll-type-c0 = "LCPLL";
    xlnx,gt-ch3-rx-int-data-width-c1 = <0x50>;
    xlnx,gt-ch2-tx-data-encoding-c1 = "RAW";
    xlnx,gt-ch1-tx-pll-type-c1 = "LCPLL";
    xlnx,dcmac-mode-c0 = "Coupled , MAC+PCS";
    xlnx,port4-1588v2-clocking-c0 = "Ordinary/Boundary , Clock";
    xlnx,dcmac-mode-c1 = "N/A";
    xlnx,mac-port0-rx-opcode-max-gcp-c0 = <0xffff>;
    xlnx,port4-1588v2-clocking-c1 = "Ordinary/Boundary , Clock";
    xlnx,mac-port5-tx-opcode-gpp-c0 = <0x01>;
    xlnx,fec-slice4-cfg-c0 = "N/A";
    xlnx,mac-port0-rx-opcode-max-gcp-c1 = <0xffff>;
    xlnx,mac-port5-tx-opcode-gpp-c1 = <0x01>;
    xlnx,fec-slice4-cfg-c1 = "N/A";
    xlnx,mac-port0-config-c0 = "100CAUI-4";
    xlnx,mac-port0-config-c1 = "N/A";
    xlnx,mac-port0-tx-ethertype-gpp-c0 = <0x8808>;
    xlnx,gt-ch0-rx-line-rate-c0 = <0x9d5b34>;
    xlnx,mac-port0-tx-ethertype-gpp-c1 = <0x8808>;
    xlnx,gt-ch0-rx-line-rate-c1 = <0x9d5b34>;
    xlnx,oth-pcs-port5-config1-c0 = "N/A";
    xlnx,mac-port4-rx-opcode-gpp-c0 = <0x01>;
    xlnx,gt-ch2-rx-line-rate-c0 = <0x9d5b34>;
    xlnx,oth-pcs-port5-config1-c1 = "100CAUI-4";
    xlnx,mac-port4-rx-opcode-gpp-c1 = <0x01>;
    xlnx,gt-ch2-rx-line-rate-c1 = <0x9d5b34>;
    xlnx,mac-port5-tx-insert-c0 = <0x00>;
    xlnx,gt-ch0-rxprogdiv-freq-enable-c0;
    xlnx,mac-port5-tx-insert-c1 = <0x01>;
    xlnx,gt-ch0-rxprogdiv-freq-enable-c1;
    xlnx,gt-ch0-rx-outclk-source-c0 = "RXPROGDIVCLK";
    xlnx,mac-port5-rx-opcode-min-pcp-c0 = <0x00>;
    xlnx,gt-ch0-rx-outclk-source-c1 = "RXPROGDIVCLK";
    xlnx,mac-port5-rx-opcode-min-pcp-c1 = <0x00>;
    xlnx,mac-port0-rx-strip-c0 = <0x00>;
    xlnx,mac-port3-enable-c0 = <0x00>;
    xlnx,fec-slice2-cfg-c0 = "N/A";
    xlnx,mac-port0-rx-strip-c1 = <0x00>;
    xlnx,mac-port3-enable-c1 = <0x01>;
    xlnx,fec-slice2-cfg-c1 = "N/A";
    xlnx,num-gt-channels-port3-con1 = <0x00>;
    xlnx,gt-ch3-tx-outclk-source-c0 = "TXPROGDIVCLK";
    xlnx,gt-ch2-rx-user-data-width-c0 = <0x50>;
    xlnx,num-gt-channels-port3-con2 = <0x00>;
    xlnx,mac-port2-preemption-c0 = <0x00>;
    xlnx,gt-ch3-tx-outclk-source-c1 = "TXPROGDIVCLK";
    xlnx,gt-ch2-rx-user-data-width-c1 = <0x50>;
    xlnx,mac-port4-tx-flow-c0 = <0x00>;
    xlnx,num-gt-channels-port3-con3 = <0x00>;
    xlnx,mac-port2-preemption-c1 = <0x00>;
    xlnx,mac-port4-tx-flow-c1 = <0x00>;
    xlnx,num-gt-channels-port3-con4 = <0x00>;
    xlnx,oth-pcs-port0-config4-c0 = "N/A";
    xlnx,mac-port3-rx-pause-da-ucast-c0 = <0x00>;
    xlnx,gt-ch3-rx-refclk-frequency-c0 = <0x9502f90>;
    xlnx,oth-pcs-port0-config4-c1 = "100CAUI-4";
    xlnx,mac-port3-rx-pause-da-ucast-c1 = <0x00>;
    clocks = <0x99 0x9a 0x9a 0x9a 0x75 0x41 0x9a 0x99 0x9a 0x9a 0x9a>;
    xlnx,num-gt-channels-port0-con1 = <0x00>;
    xlnx,gt-ch3-rx-refclk-frequency-c1 = <0x9502f90>;
    xlnx,port1-1588v2-operation-mode-c0 = "No , operation";
    xlnx,mac-port1-tx-ethertype-ppp-c0 = <0x8808>;
    xlnx,num-gt-channels-port0-con2 = <0x00>;
    xlnx,port1-1588v2-operation-mode-c1 = "No , operation";
    xlnx,mac-port1-tx-ethertype-ppp-c1 = <0x8808>;
    xlnx,num-gt-channels-port0-con3 = <0x00>;
    xlnx,gt-ch3-txprogdiv-freq-source-c0 = "LCPLL";
    xlnx,num-gt-channels-port0-con4 = <0x00>;
    xlnx,gt-ch3-txprogdiv-freq-source-c1 = "LCPLL";
    xlnx,gt-ch1-rx-data-decoding-c0 = "RAW";
    xlnx,dcmac-configuration-type = "Static , Configuration";
    xlnx,gt-ch3-txprogdiv-freq-val-c0 = <0x266ac338>;
    xlnx,gt-ch1-rx-data-decoding-c1 = "RAW";
    xlnx,mac-port1-rx-opcode-max-pcp-c0 = <0xffff>;
    xlnx,gt-ch3-txprogdiv-freq-val-c1 = <0x266ac338>;
    xlnx,mac-port5-rx-opcode-min-gcp-c0 = <0x00>;
    xlnx,mac-port1-rx-opcode-max-pcp-c1 = <0xffff>;
    xlnx,gt-ch2-rx-refclk-frequency-c0 = <0x9502f90>;
    xlnx,mac-port5-rx-opcode-min-gcp-c1 = <0x00>;
    xlnx,mac-port0-rx-flow-c0 = <0x00>;
    xlnx,gt-ch2-rx-refclk-frequency-c1 = <0x9502f90>;
    xlnx,fec-slice0-cfg-c0 = "RS(528) , CL91";
    xlnx,mac-port0-rx-flow-c1 = <0x00>;
    xlnx,fec-slice0-cfg-c1 = "N/A";
    xlnx,gt-ch3-tx-data-encoding-c0 = "RAW";
    xlnx,mac-port4-tx-insert-c0 = <0x00>;
    xlnx,gt-ch3-tx-data-encoding-c1 = "RAW";
    xlnx,mac-port4-tx-insert-c1 = <0x01>;
    xlnx,gt-ch1-rx-refclk-frequency-c0 = <0x9502f90>;
    xlnx,mac-port3-enable-time-stamping-c0 = <0x00>;
    xlnx,mac-port0-rx-etype-pcp-c0 = <0x8808>;
    xlnx,mac-port2-rx-pause-da-mcast-c0 = <0x180 0xc2000001>;
    xlnx,gt-ch1-rx-refclk-frequency-c1 = <0x9502f90>;
    xlnx,mac-port5-tx-sa-ppp-c0 = <0x00>;
    xlnx,mac-port3-enable-time-stamping-c1 = <0x00>;
    xlnx,mac-port0-rx-etype-pcp-c1 = <0x8808>;
    xlnx,mac-port2-rx-pause-da-mcast-c1 = <0x180 0xc2000001>;
    xlnx,mac-port5-tx-sa-ppp-c1 = <0x00>;
    xlnx,mac-port1-tx-ethertype-gpp-c0 = <0x8808>;
    xlnx,mac-port2-config-c0 = "N/A";
    xlnx,mac-port2-rx-etype-pcp-c0 = <0x8808>;
    xlnx,gt-ch3-rxprogdiv-freq-source-c0 = "LCPLL";
    xlnx,num-gt-channels = <0x04>;
    xlnx,mac-port1-tx-ethertype-gpp-c1 = <0x8808>;
    xlnx,mac-port2-config-c1 = "N/A";
    xlnx,mac-port2-rx-etype-pcp-c1 = <0x8808>;
    xlnx,gt-ch3-rxprogdiv-freq-source-c1 = "LCPLL";
    xlnx,mac-port4-rx-etype-pcp-c0 = <0x8808>;
    xlnx,mac-port4-rx-etype-pcp-c1 = <0x8808>;
    xlnx,mac-port1-rx-opcode-max-gcp-c0 = <0xffff>;
    xlnx,gt-ch2-rx-buffer-mode-c0 = <0x01>;
    xlnx,gt-ch0-rx-refclk-frequency-c0 = <0x9502f90>;
    xlnx,gt-mode-c0 = "Custom";
    xlnx,mac-port1-rx-opcode-max-gcp-c1 = <0xffff>;
    xlnx,gt-ch2-rx-buffer-mode-c1 = <0x01>;
    xlnx,gt-ch0-rx-refclk-frequency-c1 = <0x9502f90>;
    xlnx,mac-port5-tx-flow-c0 = <0x00>;
    xlnx,gt-mode-c1 = "Custom";
    xlnx,gt-ch2-tx-buffer-mode-c0 = <0x01>;
    xlnx,mac-port5-tx-flow-c1 = <0x00>;
    xlnx,mac-port2-rx-pause-sa-c0 = <0x00>;
    xlnx,gt-ch2-tx-buffer-mode-c1 = <0x01>;
    xlnx,gt-ch1-rx-outclk-source-c0 = "RXPROGDIVCLK";
    xlnx,oth-pcs-port1-config4-c0 = "N/A";
    xlnx,mac-port2-rx-pause-sa-c1 = <0x00>;
    xlnx,gt-ch1-rx-outclk-source-c1 = "RXPROGDIVCLK";
    xlnx,oth-pcs-port1-config4-c1 = "100CAUI-4";
    phandle = <0x0d>;

	phy-mode = "100gbase-r";
	xlnx,gt-mode-0 = "NRZ";
	axistream-connected = <&dataflow_0_axi_mcdma_0>;
	xlnx,num-queues = [00 01];
	xlnx,channel-ids = "1";
	interrupt-names = "mm2s_ch1_introut", "s2mm_ch1_introut";
    interrupt-parent = <&gic>;
	interrupts = < 0 92 4 0 93 4 >;
	xlnx,gtlane = <0x00000000>;
	xlnx,phcindex = <0x00000000>;
	max-speed = <0x186A0>;
	
	/* GPIO_ACTIVE_HIGH */
	gt_ctrl-gpios = <&axi_gpio_gt_ctl 0 0>, <&axi_gpio_gt_ctl 1 0>, <&axi_gpio_gt_ctl 2 0>, <&axi_gpio_gt_ctl 3 0>, <&axi_gpio_gt_ctl 4 0>, <&axi_gpio_gt_ctl 5 0>, <&axi_gpio_gt_ctl 6 0>, <&axi_gpio_gt_ctl 7 0>,
	<&axi_gpio_gt_ctl 8 0>, <&axi_gpio_gt_ctl 9 0>, <&axi_gpio_gt_ctl 10 0>, <&axi_gpio_gt_ctl 11 0>, <&axi_gpio_gt_ctl 12 0>, <&axi_gpio_gt_ctl 13 0>, <&axi_gpio_gt_ctl 14 0>, <&axi_gpio_gt_ctl 15 0>,
	<&axi_gpio_gt_ctl 16 0>, <&axi_gpio_gt_ctl 17 0>, <&axi_gpio_gt_ctl 18 0>, <&axi_gpio_gt_ctl 19 0>, <&axi_gpio_gt_ctl 20 0>, <&axi_gpio_gt_ctl 21 0>, <&axi_gpio_gt_ctl 22 0>, <&axi_gpio_gt_ctl 23 0>,
	<&axi_gpio_gt_ctl 24 0>, <&axi_gpio_gt_ctl 25 0>, <&axi_gpio_gt_ctl 26 0>, <&axi_gpio_gt_ctl 27 0>, <&axi_gpio_gt_ctl 28 0>, <&axi_gpio_gt_ctl 29 0>, <&axi_gpio_gt_ctl 30 0>, <&axi_gpio_gt_ctl 31 0>;
	
	gt_rx_dpath-gpios = <&axi_gpio_rx_datapath 0 0>, <&axi_gpio_rx_datapath 1 0>, <&axi_gpio_rx_datapath 2 0>, <&axi_gpio_rx_datapath 3 0>, <&axi_gpio_rx_datapath 4 0>, <&axi_gpio_rx_datapath 5 0>, <&axi_gpio_rx_datapath 6 0>, <&axi_gpio_rx_datapath 7 0>,
	<&axi_gpio_rx_datapath 8 0>, <&axi_gpio_rx_datapath 9 0>, <&axi_gpio_rx_datapath 10 0>, <&axi_gpio_rx_datapath 11 0>, <&axi_gpio_rx_datapath 12 0>, <&axi_gpio_rx_datapath 13 0>, <&axi_gpio_rx_datapath 14 0>, <&axi_gpio_rx_datapath 15 0>,
	<&axi_gpio_rx_datapath 16 0>, <&axi_gpio_rx_datapath 17 0>, <&axi_gpio_rx_datapath 18 0>, <&axi_gpio_rx_datapath 19 0>, <&axi_gpio_rx_datapath 20 0>, <&axi_gpio_rx_datapath 21 0>, <&axi_gpio_rx_datapath 22 0>;
	
	gt_tx_dpath-gpios = <&axi_gpio_tx_datapath 0 0>, <&axi_gpio_tx_datapath 1 0>, <&axi_gpio_tx_datapath 2 0>, <&axi_gpio_tx_datapath 3 0>, <&axi_gpio_tx_datapath 4 0>, <&axi_gpio_tx_datapath 5 0>, <&axi_gpio_tx_datapath 6 0>, <&axi_gpio_tx_datapath 7 0>,
	<&axi_gpio_tx_datapath 8 0>, <&axi_gpio_tx_datapath 9 0>, <&axi_gpio_tx_datapath 10 0>, <&axi_gpio_tx_datapath 11 0>, <&axi_gpio_tx_datapath 12 0>, <&axi_gpio_tx_datapath 13 0>, <&axi_gpio_tx_datapath 14 0>, <&axi_gpio_tx_datapath 15 0>,
	<&axi_gpio_tx_datapath 16 0>, <&axi_gpio_tx_datapath 17 0>, <&axi_gpio_tx_datapath 18 0>, <&axi_gpio_tx_datapath 19 0>, <&axi_gpio_tx_datapath 20 0>, <&axi_gpio_tx_datapath 21 0>, <&axi_gpio_tx_datapath 22 0>;
	
	gt_tx_rst_done-gpios = <&axi_reset_done_dyn 0 0>, <&axi_reset_done_dyn 1 0>, <&axi_reset_done_dyn 2 0>, <&axi_reset_done_dyn 3 0>, <&axi_reset_done_dyn 4 0>, <&axi_reset_done_dyn 5 0>, <&axi_reset_done_dyn 6 0>, <&axi_reset_done_dyn 7 0>,
	<&axi_reset_done_dyn 8 0>, <&axi_reset_done_dyn 9 0>, <&axi_reset_done_dyn 10 0>, <&axi_reset_done_dyn 11 0>, <&axi_reset_done_dyn 12 0>, <&axi_reset_done_dyn 13 0>, <&axi_reset_done_dyn 14 0>, <&axi_reset_done_dyn 15 0>,
	<&axi_reset_done_dyn 16 0>, <&axi_reset_done_dyn 17 0>, <&axi_reset_done_dyn 18 0>, <&axi_reset_done_dyn 19 0>, <&axi_reset_done_dyn 20 0>, <&axi_reset_done_dyn 21 0>, <&axi_reset_done_dyn 22 0>, <&axi_reset_done_dyn 23 0>;
	
	gt_rx_rst_done-gpios = <&axi_reset_done_dyn 24 0>, <&axi_reset_done_dyn 25 0>, <&axi_reset_done_dyn 26 0>, <&axi_reset_done_dyn 27 0>, <&axi_reset_done_dyn 28 0>, <&axi_reset_done_dyn 29 0>, <&axi_reset_done_dyn 30 0>, <&axi_reset_done_dyn 31 0>,
	<&axi_reset_done_dyn 32 0>, <&axi_reset_done_dyn 33 0>, <&axi_reset_done_dyn 34 0>, <&axi_reset_done_dyn 35 0>, <&axi_reset_done_dyn 36 0>, <&axi_reset_done_dyn 37 0>, <&axi_reset_done_dyn 38 0>, <&axi_reset_done_dyn 39 0>,
	<&axi_reset_done_dyn 40 0>, <&axi_reset_done_dyn 41 0>, <&axi_reset_done_dyn 42 0>, <&axi_reset_done_dyn 43 0>, <&axi_reset_done_dyn 44 0>, <&axi_reset_done_dyn 45 0>, <&axi_reset_done_dyn 46 0>, <&axi_reset_done_dyn 47 0>;
	
	gt_rsts-gpios = <&axi_resets_dyn 0 0>, <&axi_resets_dyn 1 0>, <&axi_resets_dyn 2 0>, <&axi_resets_dyn 3 0>, <&axi_resets_dyn 4 0>, <&axi_resets_dyn 5 0>, <&axi_resets_dyn 6 0>, <&axi_resets_dyn 7 0>,
	<&axi_resets_dyn 8 0>, <&axi_resets_dyn 9 0>, <&axi_resets_dyn 10 0>, <&axi_resets_dyn 11 0>, <&axi_resets_dyn 12 0>, <&axi_resets_dyn 13 0>;
	
	xlnx,gt-ch0-rx-user-data-width-c0 = <0x00000050>;
	xlnx,gt-mode-1 = "PAM4";
	xlnx,gt-ch0-rx-user-data-width-c1 = <0x00000050>;
	reg = <0x00000000 0xa4000000 0x00000000 0x00010000>;
	xlnx,name = "dcmac_100caui4_1588_core";
	clock-names = "rx_axi_clk", "rx_core_clk", "rx_flexif_clk", "rx_macif_clk", "s_axi_aclk", "ts_clk", "tx_axi_clk", "tx_core_clk", "tx_flexif_clk", "tx_macif_clk";
	xlnx,data-rate-cfg-0 = "100G";
	status = "okay";
	xlnx,edk-iptype = "PERIPHERAL";
	compatible = "xlnx,dcmac-2.4"; 
	xlnx,ip-name = "dcmac";
	clocks = <&misc_clk_0>, <&misc_clk_1>, <&misc_clk_1>, <&misc_clk_1>, <&versal_clk 65>, <&misc_clk_1>, <&misc_clk_0>, <&misc_clk_1>, <&misc_clk_1>, <&misc_clk_1>;
	xlnx,num-gt-channels = <0x00000004>;
	fixed-link {
		speed = <100000>;
		full-duplex;
	};

};

&dcmac_and_gt_dcmac_0_core_1 {
    compatible = "xlnx,dcmac-2.4";
    status = "disabled";

};

&dcmac_and_gt_dcmac_0_core_2 {
    compatible = "xlnx,dcmac-2.4";
    status = "disabled";

};
&dcmac_and_gt_dcmac_0_core_3 {
    compatible = "xlnx,dcmac-2.4";
    status = "disabled";

};

&dataflow_0_axi_mcdma_0 {
	 compatible = "xlnx,eth-dma";
     status = "okay";
     xlnx,include-dre;
	 xlnx,addrwidth = [20];
};




&i2c0 { /* PMC_MIO46/47 */

        /* U33 TCA9548A switch */
        tca9548@74 {
                compatible = "nxp,pca9548";
                #pinctrl-names = "default";
                #address-cells = <0x1>;
                #size-cells = <0x0>;
                reg = <0x74>;
                #i2c-mux-idle-disconnect;
      };

      /* U233 TCA6416A GPIO Exander */
      gpio@20 {
                compatible = "ti,tca6416, nxp,pca9505";
                reg = <0x20>;
                pinctrl-names = "default";
                gpio-controller;
    };
};
